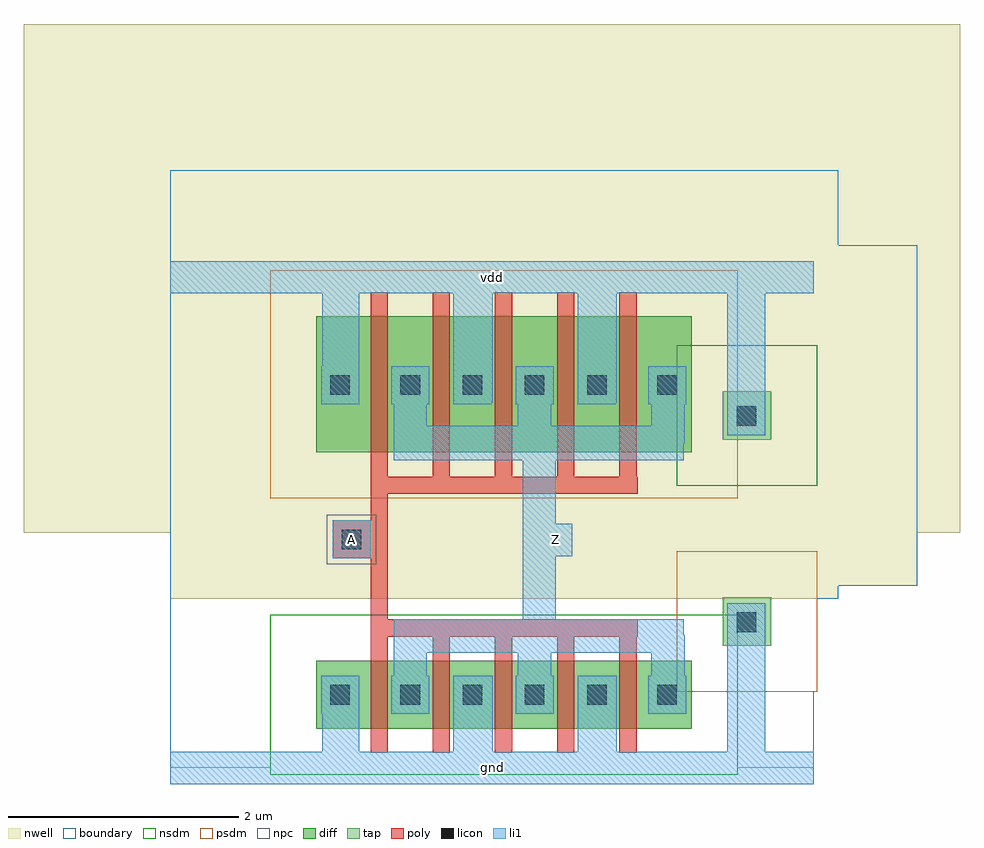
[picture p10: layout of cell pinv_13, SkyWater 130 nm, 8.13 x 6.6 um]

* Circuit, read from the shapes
.subckt pinv_13 A Z gnd vdd
XM1 Z A gnd gnd sky130_fd_pr__nfet_01v8 w=0.59 l=0.15 m=5
XM2 Z A vdd vdd sky130_fd_pr__pfet_01v8 w=1.18 l=0.15 m=5
.ends

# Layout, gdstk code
import gdstk
lib = gdstk.Library(unit=1e-6, precision=1e-09)
def R(c, l, rs):  # rectangles x0, y0, x1, y1
    for r in rs: c.add(gdstk.rectangle(r[:2], r[2:], *l))
def A(c, l, x, y, w, h, nx, ny, dx, dy):  # array of equal rectangles
    R(c, l, [(x+i*dx, y+j*dy, x+i*dx+w, y+j*dy+h) for i in range(nx) for j in range(ny)])
nwell = (64, 20)
diff = (65, 20)
tap = (65, 44)
poly = (66, 20)
licon = (66, 44)
li1 = (67, 20)
nsdm = (93, 44)
psdm = (94, 20)
npc = (95, 20)
boundary = (235, 4)

contact_12 = lib.new_cell('contact_12')
R(contact_12, nwell, [(-1.27,-1.27,1.69,1.69)])
R(contact_12, diff, [(0,0,0.42,0.42)])
R(contact_12, licon, [(0.12,0.12,0.29,0.29)])
R(contact_12, li1, [(0.04,0.04,0.37,0.37)])
R(contact_12, psdm, [(-0.4,-0.4,0.82,0.82)])
R(contact_12, boundary, [(-1.27,-1.27,1.69,1.69)])

pmos_m5_w1_180_sli_dli_d = lib.new_cell('pmos_m5_w1_180_sli_dli_da_p')
R(pmos_m5_w1_180_sli_dli_d, nwell, [(-1.27,-1.27,4.53,2.45)])
R(pmos_m5_w1_180_sli_dli_d, diff, [(0,0,3.26,1.18)])
A(pmos_m5_w1_180_sli_dli_d, poly, 0.47, -0.21, 0.15, 1.6, 5, 1, 0.54, 0)
R(pmos_m5_w1_180_sli_dli_d, poly, [(0.47,-0.36,2.79,-0.21)])
R(pmos_m5_w1_180_sli_dli_d, li1, [(0.67,-0.07,3.19,0.23), (0.67,0.08,0.96,0.59), (1.75,0.08,2.04,0.59), (2.91,0.08,3.2,0.59), (0.05,0.43,0.37,0.75), (1.19,0.43,1.53,0.75), (2.27,0.43,2.61,0.75)])
R(pmos_m5_w1_180_sli_dli_d, psdm, [(-0.4,-0.4,3.66,1.58)])
R(pmos_m5_w1_180_sli_dli_d, boundary, [(-1.27,-1.27,4.53,2.45)])
pmos_m5_w1_180_sli_dli_d.add(gdstk.Reference(contact_12, (0,0.38)))
pmos_m5_w1_180_sli_dli_d.add(gdstk.Reference(contact_12, (0.61,0.38)))
pmos_m5_w1_180_sli_dli_d.add(gdstk.Reference(contact_12, (1.15,0.38)))
pmos_m5_w1_180_sli_dli_d.add(gdstk.Reference(contact_12, (1.69,0.38)))
pmos_m5_w1_180_sli_dli_d.add(gdstk.Reference(contact_12, (2.23,0.38)))
pmos_m5_w1_180_sli_dli_d.add(gdstk.Reference(contact_12, (2.84,0.38)))
pmos_m5_w1_180_sli_dli_d.add(gdstk.Label('G', (1.63,-0.285), layer=66, texttype=20))
pmos_m5_w1_180_sli_dli_d.add(gdstk.Label('S', (2.44,0.59), layer=67, texttype=20))
pmos_m5_w1_180_sli_dli_d.add(gdstk.Label('S', (0.21,0.59), layer=67, texttype=20))
pmos_m5_w1_180_sli_dli_d.add(gdstk.Label('S', (1.36,0.59), layer=67, texttype=20))
pmos_m5_w1_180_sli_dli_d.add(gdstk.Label('D', (1.93,0.08), layer=67, texttype=20))

contact_11 = lib.new_cell('contact_11')
R(contact_11, diff, [(0,0,0.42,0.42)])
R(contact_11, licon, [(0.12,0.12,0.29,0.29)])
R(contact_11, li1, [(0.04,0.04,0.37,0.37)])
R(contact_11, nsdm, [(-0.4,-0.4,0.82,0.82)])
R(contact_11, boundary, [(-0.4,-0.4,0.82,0.82)])

nmos_m5_w0_590_sli_dli_d = lib.new_cell('nmos_m5_w0_590_sli_dli_da_p')
R(nmos_m5_w0_590_sli_dli_d, diff, [(0,0,3.26,0.59)])
A(nmos_m5_w0_590_sli_dli_d, poly, 0.47, -0.21, 0.15, 1.01, 5, 1, 0.54, 0)
R(nmos_m5_w0_590_sli_dli_d, poly, [(0.47,0.8,2.79,0.95)])
R(nmos_m5_w0_590_sli_dli_d, li1, [(0.05,0.13,0.37,0.46), (1.19,0.13,1.53,0.46), (2.27,0.13,2.61,0.46), (0.67,0.29,0.96,0.81), (1.75,0.29,2.04,0.81), (2.91,0.29,3.2,0.81), (0.67,0.66,3.19,0.95)])
R(nmos_m5_w0_590_sli_dli_d, nsdm, [(-0.4,-0.4,3.66,0.99)])
R(nmos_m5_w0_590_sli_dli_d, boundary, [(-0.4,-0.4,3.66,0.99)])
nmos_m5_w0_590_sli_dli_d.add(gdstk.Reference(contact_11, (0,0.09)))
nmos_m5_w0_590_sli_dli_d.add(gdstk.Reference(contact_11, (0.61,0.09)))
nmos_m5_w0_590_sli_dli_d.add(gdstk.Reference(contact_11, (1.15,0.09)))
nmos_m5_w0_590_sli_dli_d.add(gdstk.Reference(contact_11, (1.69,0.09)))
nmos_m5_w0_590_sli_dli_d.add(gdstk.Reference(contact_11, (2.23,0.09)))
nmos_m5_w0_590_sli_dli_d.add(gdstk.Reference(contact_11, (2.84,0.09)))
nmos_m5_w0_590_sli_dli_d.add(gdstk.Label('G', (1.63,0.875), layer=66, texttype=20))
nmos_m5_w0_590_sli_dli_d.add(gdstk.Label('S', (0.21,0.295), layer=67, texttype=20))
nmos_m5_w0_590_sli_dli_d.add(gdstk.Label('S', (1.36,0.295), layer=67, texttype=20))
nmos_m5_w0_590_sli_dli_d.add(gdstk.Label('S', (2.44,0.295), layer=67, texttype=20))
nmos_m5_w0_590_sli_dli_d.add(gdstk.Label('D', (1.93,0.805), layer=67, texttype=20))

contact_13 = lib.new_cell('contact_13')
R(contact_13, nwell, [(-1.27,-1.27,1.69,1.69)])
R(contact_13, tap, [(0,0,0.42,0.42)])
R(contact_13, licon, [(0.12,0.12,0.29,0.29)])
R(contact_13, li1, [(0.04,0.04,0.37,0.37)])
R(contact_13, nsdm, [(-0.4,-0.4,0.82,0.82)])
R(contact_13, boundary, [(-1.27,-1.27,1.69,1.69)])

contact_14 = lib.new_cell('contact_14')
R(contact_14, tap, [(0,0,0.42,0.42)])
R(contact_14, licon, [(0.12,0.12,0.29,0.29)])
R(contact_14, li1, [(0.04,0.04,0.37,0.37)])
R(contact_14, psdm, [(-0.4,-0.4,0.82,0.82)])
R(contact_14, boundary, [(-0.4,-0.4,0.82,0.82)])

contact_15 = lib.new_cell('contact_15')
R(contact_15, poly, [(0,0,0.33,0.33)])
R(contact_15, licon, [(0.08,0.08,0.25,0.25)])
R(contact_15, li1, [(0,0,0.33,0.33)])
R(contact_15, npc, [(-0.05,-0.05,0.38,0.38)])
R(contact_15, boundary, [(-0.05,-0.05,0.38,0.38)])

pinv_13 = lib.new_cell('pinv_13')
R(pinv_13, nwell, [(-1.27,2.04,6.86,6.46)])
R(pinv_13, poly, [(1.74,1.29,1.89,2.38), (1.58,1.82,1.74,2.15)])
R(pinv_13, li1, [(0,-0.14,5.59,0.14), (1.32,-0.14,1.64,0.47), (2.46,-0.14,2.8,0.47), (3.54,-0.14,3.88,0.47), (4.84,0,5.17,1.27), (3.06,1,3.35,2.97), (1.41,1.82,1.74,2.14), (3.2,1.84,3.49,2.12), (4.84,3.06,5.17,4.26), (1.32,3.17,1.64,4.4), (2.46,3.17,2.8,4.4), (3.54,3.17,3.88,4.4), (0,4.12,5.59,4.4)])
R(pinv_13, boundary, [(0,0,5.59,4.26), (0,0,5.59,4.26)])
pinv_13.add(gdstk.Reference(pmos_m5_w1_180_sli_dli_d, (1.27,2.74)))
pinv_13.add(gdstk.Reference(nmos_m5_w0_590_sli_dli_d, (1.27,0.34)))
pinv_13.add(gdstk.Reference(contact_13, (4.8,2.85)))
pinv_13.add(gdstk.Reference(contact_14, (4.8,1.06)))
pinv_13.add(gdstk.Reference(contact_15, (1.41,1.82)))
pinv_13.add(gdstk.Label('A', (1.575,1.98), layer=67, texttype=20))
pinv_13.add(gdstk.Label('Z', (3.345,1.98), layer=67, texttype=20))
pinv_13.add(gdstk.Label('gnd', (2.795,0), layer=67, texttype=20))
pinv_13.add(gdstk.Label('vdd', (2.795,4.26), layer=67, texttype=20))

lib.write_gds('pinv_13.gds')
